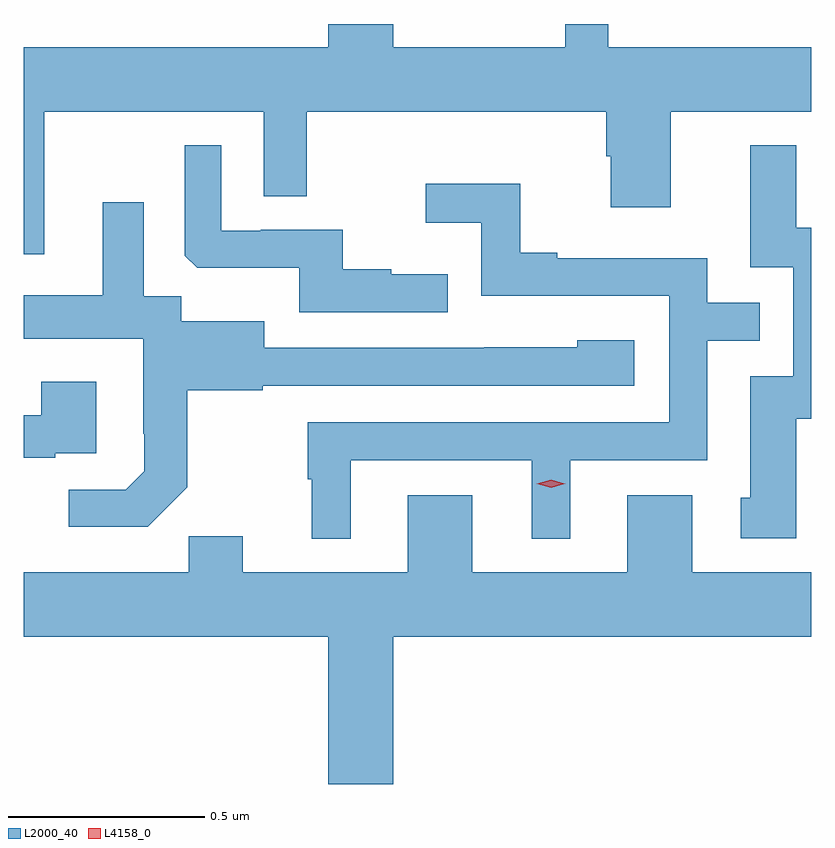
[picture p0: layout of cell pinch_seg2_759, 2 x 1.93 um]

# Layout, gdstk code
import gdstk
lib = gdstk.Library(unit=1e-6, precision=1e-09)
def P(c, l, *ps):  # polygons
    for p in ps: c.add(gdstk.Polygon(p, *l))
L2000_40 = (2000, 40)
L4158_0 = (4158, 0)

pinch_seg2_759 = lib.new_cell('pinch_seg2_759')
P(pinch_seg2_759, L2000_40, [(825.058,633.207),(824.949,633.207),(824.949,633.148),(824.512,633.148),(824.512,633.207),(824.348,633.207),(824.348,633.148),(823.574,633.148),(823.574,632.622),(823.627,632.622),(823.627,632.984),(824.184,632.984),(824.184,632.77),(824.293,632.77),(824.293,632.984),(825.053,632.984),(825.053,632.871),(825.065,632.871),(825.065,632.742),(825.217,632.742),(825.217,632.984),(825.574,632.984),(825.574,633.148),(825.058,633.148)],
  [(824.651,632.572),(824.507,632.572),(824.507,632.584),(824.384,632.584),(824.384,632.685),(824.176,632.685),(824.176,632.682),(824.076,632.682),(824.076,632.899),(823.983,632.899),(823.983,632.619),(824.015,632.588),(824.274,632.588),(824.274,632.475),(824.651,632.475)],
  [(825.535,632.205),(825.574,632.205),(825.574,632.69),(825.535,632.69),(825.535,632.899),(825.419,632.899),(825.419,632.589),(825.528,632.589),(825.528,632.313),(825.419,632.313),(825.419,632.004),(825.395,632.004),(825.395,631.902),(825.535,631.902)],
  [(824.404,632.1),(824.864,632.1),(824.864,631.901),(824.962,631.901),(824.962,632.1),(825.309,632.1),(825.309,632.403),(825.443,632.403),(825.443,632.499),(825.309,632.499),(825.309,632.613),(824.929,632.613),(824.929,632.626),(824.835,632.626),(824.835,632.801),(824.595,632.801),(824.595,632.702),(824.736,632.702),(824.736,632.517),(825.213,632.517),(825.213,632.196),(824.295,632.196),(824.295,632.052),(824.306,632.052),(824.306,631.901),(824.404,631.901)],
  [(823.989,632.031),(823.989,632.277),(824.181,632.277),(824.181,632.289),(825.124,632.289),(825.124,632.404),(824.979,632.404),(824.979,632.386),(824.743,632.386),(824.743,632.385),(824.185,632.385),(824.185,632.452),(823.974,632.452),(823.974,632.516),(823.879,632.516),(823.879,632.755),(823.775,632.755),(823.775,632.518),(823.574,632.518),(823.574,632.408),(823.878,632.408),(823.878,632.167),(823.88,632.167),(823.88,632.072),(823.833,632.025),(823.689,632.025),(823.689,631.931),(823.889,631.931)],
  [(823.655,632.118),(823.759,632.118),(823.759,632.299),(823.619,632.299),(823.619,632.214),(823.574,632.214),(823.574,632.106),(823.655,632.106)],
  [(824.512,631.652),(825.574,631.652),(825.574,631.816),(825.271,631.816),(825.271,632.011),(825.107,632.011),(825.107,631.816),(824.713,631.816),(824.713,632.011),(824.549,632.011),(824.549,631.816),(824.131,631.816),(824.131,631.907),(823.993,631.907),(823.993,631.816),(823.574,631.816),(823.574,631.652),(824.348,631.652),(824.348,631.278),(824.512,631.278)])
P(pinch_seg2_759, L4158_0, [(824.913,632.03),(824.877,632.04),(824.877,632.04),(824.877,632.04),(824.913,632.05),(824.948,632.04),(824.949,632.04),(824.948,632.04)])

lib.write_gds('pinch_seg2_759.gds')
